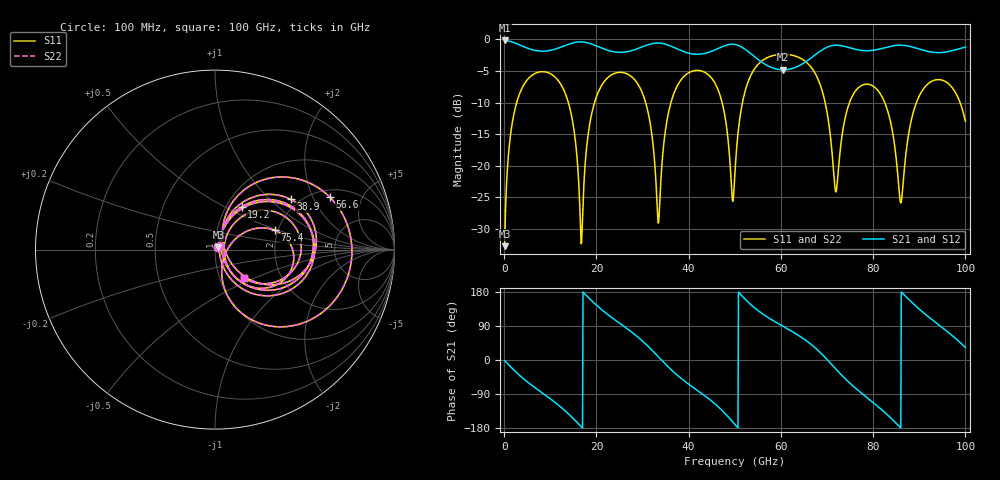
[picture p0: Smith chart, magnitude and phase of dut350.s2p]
! Touchstone file exported from HFSS 2026.1.0
!  File:  C:/ffzhzh/LocalFiles/Ansys_Project_Files/temp_train_TSV_RDL_350_1783708103_44652.aedt
!  Generated:  02:48:02 AM Jul 11, 2026
!  Design:  TSV_RDL
!  Project:  temp_train_TSV_RDL_350_1783708103_44652
! Variables:
!  h_bsmrdl = 3.61um
!  h_ox = 20um
!  h_rdl = 5um
!  h_sub = 86.96um
!  h_tmrdl = 3.23um
!  h_tsv = 86.96um
!  h_via = 3um
!  l_bsmrdl = 123um
!  l_sub = 3451.57um
!  l_tmrdl = 640.74um
!  m_sub = 200um
!  pitch = 48.22um
!  r_tsv = 5.52um
!  s_tmrdl = 10um
!  w_bsmrdl = 19.55um
!  w_sub = 500um
!  w_tmrdl = 20.32um
!  x_tsv_center1 = 650.9um
!  x_tsv_center2 = 793.45um
!  x_tsv_center3 = 1454.51um
!  x_tsv_center4 = 1597.06um
!  x_tsv_center5 = 2258.12um
!  x_tsv_center6 = 2400.67um
# GHz S MA R 50.000000
! Terminal data exported
! Port[1] = TM_RDL1_1_T1
! Port[2] = TM_RDL5_1_T1
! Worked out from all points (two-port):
!   1000 points, 100 MHz to 100 GHz, reference 50 ohm
!   highest |S21| = -0.16 dB at 100 MHz (marker M1); lowest = -4.8 dB at 60.5 GHz (marker M2)
!   |S21| within 3 dB of the highest: start of sweep to 55.03 GHz; 66.11 GHz to end of sweep
!   lowest |S11| = -32.7 dB at 100 MHz (marker M3), VSWR 1.05, Z = 51.9 + j1.39 ohm
!   |S11| at or under -10 dB: 13.92 GHz to 19.59 GHz (5.666 GHz wide, 33.8 % of centre); 30.67 GHz to 36.16 GHz (5.484 GHz wide, 16.4 % of centre); 82.51 GHz to 89.37 GHz (6.862 GHz wide, 7.98 % of centre) (the widest 3 of 7)
!   |S22| runs from -32.7 to -2.4 dB; largest |S21 - S12| = 1.1e-11
!   S11 on the Smith chart (normalised r, x): 100 MHz: 1.04, +0.03; 19.2 GHz: 1.18, +0.61; 38.9 GHz: 1.80, +1.36; 56.6 GHz: 2.35, +2.72; 75.4 GHz: 1.93, +0.47; 100 GHz: 1.30, -0.43
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0.1  0.02313 35.5  0.9814 -1.3  0.9814 -1.3  0.02313 35.5
! Gamma 0 0 0 0
! Port Impedance 50 0 50 0
2.4  0.2861 55.4  0.9348 -29.9  0.9348 -29.9  0.2861 55.5
7.9  0.5546 4.4  0.8083 -83.9  0.8083 -83.9  0.5546 4.4
13.9  0.3183 -49.8  0.9143 -141.7  0.9143 -141.7  0.3182 -49.8
16.8  0.02494 19.4  0.9562 -177.0  0.9562 -177.0  0.02493 19.5
19.2  0.2802 58.1  0.9125 153.8  0.9125 153.8  0.2802 58.1
28.8  0.4541 -26.3  0.8417 62.4  0.8417 62.4  0.4541 -26.2
33.4  0.03525 -0.2  0.9367 8.9  0.9367 8.9  0.03583 -0.0
35.6  0.2603 63.5  0.9008 -18.5  0.9008 -18.5  0.2604 63.4
38.9  0.5059 33.6  0.8012 -53.6  0.8012 -53.6  0.506 33.6
45.9  0.437 -24.7  0.8328 -117.8  0.8328 -117.8  0.4371 -24.6
50.1  0.0963 64.8  0.9111 -170.9  0.9111 -170.9  0.09655 64.5
52.3  0.3965 62.0  0.8328 159.8  0.8328 159.8  0.3966 61.9
56.6  0.7035 24.5  0.6349 117.0  0.6349 117.0  0.7036 24.5
60.5  0.7629 -1.6  0.5747 88.8  0.5747 88.8  0.763 -1.6
66.7  0.5928 -46.1  0.7205 39.7  0.7205 39.7  0.5929 -46.2
71.9  0.06209 -24.5  0.9005 -23.7  0.9005 -23.7  0.0619 -24.5
75.4  0.3507 17.8  0.8489 -66.1  0.8489 -66.1  0.3507 17.8
83.4  0.2524 -49.5  0.8754 -148.2  0.8754 -148.2  0.2525 -49.6
86  0.05081 0.1  0.9002 -179.2  0.9002 -179.2  0.05053 -0.0
91.3  0.4239 26.7  0.8125 120.8  0.8125 120.8  0.4237 26.8
100  0.2254 -44.7  0.8702 33.2  0.8702 33.2  0.2254 -44.6
